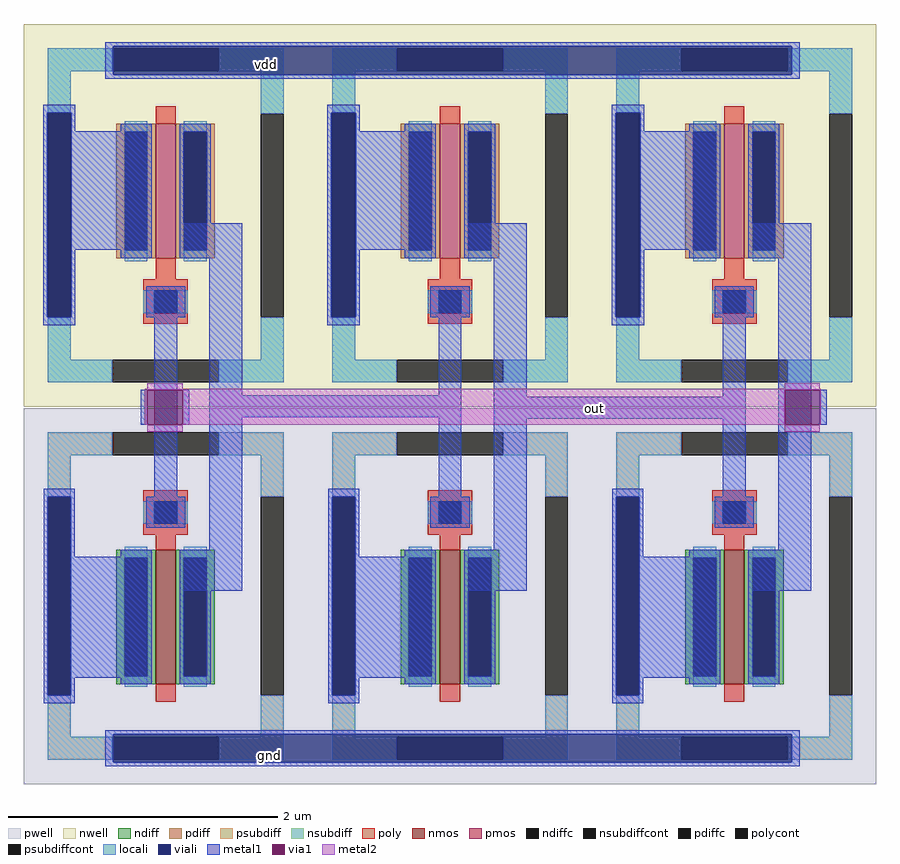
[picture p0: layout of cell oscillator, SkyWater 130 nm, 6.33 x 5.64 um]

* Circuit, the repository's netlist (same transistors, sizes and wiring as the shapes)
** sch_path: /home/enka/oscillator/oscillator.sch
.subckt oscillator vdd out gnd
*.PININFO vdd:B gnd:B out:O
x1 vdd out net1 gnd inverter
x2 vdd net1 net2 gnd inverter
x3 vdd net2 out gnd inverter
.ends

* expanding   symbol:  inverter.sym # of pins=4
** sym_path: /home/enka/oscillator/inverter.sym
** sch_path: /home/enka/oscillator/inverter.sch
.subckt inverter vdd in out gnd
*.PININFO vdd:I in:I gnd:I out:O
XM1 out in vdd vdd sky130_fd_pr__pfet_01v8 L=0.15 W=1 nf=1 m=1
XM2 out in gnd gnd sky130_fd_pr__nfet_01v8 L=0.15 W=1 nf=1 m=1
.ends

.end

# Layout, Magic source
magic
tech sky130A
magscale 1 2
<< viali >>
rect 133 1053 1140 1095
rect 133 32 1140 74
<< metal1 >>
rect 121 1095 1152 1101
rect 121 1053 133 1095
rect 1140 1053 1152 1095
rect 121 1047 1152 1053
rect 174 533 184 585
rect 236 533 246 585
rect 280 544 643 577
rect 704 542 1067 575
rect 1120 533 1130 585
rect 1182 533 1192 585
rect 121 74 1152 80
rect 121 32 133 74
rect 1140 32 1152 74
rect 121 26 1152 32
<< via1 >>
rect 184 533 236 585
rect 1130 533 1182 585
<< metal2 >>
rect 184 587 236 595
rect 1130 587 1182 595
rect 180 585 1183 587
rect 180 533 184 585
rect 236 533 1130 585
rect 1182 533 1183 585
rect 184 523 236 533
rect 1130 523 1182 533
use inverter  x1
transform 1 0 182 0 1 566
box -182 -566 240 562
use inverter  x2
transform 1 0 604 0 1 566
box -182 -566 240 562
use inverter  x3
transform 1 0 1026 0 1 566
box -182 -566 240 562
<< labels >>
flabel viali 361 1068 361 1068 0 FreeSans 160 0 0 0 vdd
port 3 nsew
flabel viali 365 42 365 42 0 FreeSans 160 0 0 0 gnd
port 5 nsew
flabel metal2 848 558 848 558 0 FreeSans 160 0 0 0 out
port 7 nsew
<< end >>

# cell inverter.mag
magic
tech sky130A
magscale 1 2
<< viali >>
rect -147 127 -111 430
rect -146 -434 -112 -140
<< metal1 >>
rect -153 430 -105 442
rect -153 127 -147 430
rect -111 403 -105 430
rect -111 227 3 403
rect -111 127 -105 227
rect 52 217 143 266
rect -153 115 -105 127
rect -152 -140 -106 -128
rect -152 -434 -146 -140
rect -112 -229 -106 -140
rect 12 -180 46 167
rect -112 -408 3 -229
rect 94 -230 143 217
rect 54 -279 143 -230
rect -112 -434 -106 -408
rect -152 -446 -106 -434
use sky130_fd_pr__pfet_01v8_LGS3BL  XM1
transform 1 0 29 0 1 278
box -211 -284 211 284
use sky130_fd_pr__nfet_01v8_64Z3AY  XM2
transform 1 0 29 0 1 -287
box -211 -279 211 279
<< labels >>
flabel metal1 -88 313 -88 313 0 FreeSans 160 0 0 0 vdd
port 1 nsew
flabel metal1 -89 -342 -89 -342 0 FreeSans 160 0 0 0 gnd
port 3 nsew
flabel metal1 22 -20 22 -20 0 FreeSans 160 0 0 0 in
port 5 nsew
flabel metal1 105 -28 105 -28 0 FreeSans 160 0 0 0 out
port 7 nsew
<< end >>

# cell sky130_fd_pr__pfet_01v8_LGS3BL: kit device sky130_fd_pr__pfet_01v8, w 1.0 l 0.15 m 1 nf 1 diffcov 100 polycov 100 guard 1 glc 1 grc 1 gtc 1 gbc 1 tbcov 100 rlcov 100 topc 0 botc 1 poverlap 0 doverlap 1 lmin 0.15 wmin 0.42 compatible {sky130_fd_pr__pfet_01v8 sky130_fd_pr__pfet_01v8_lvt sky130_fd_pr__pfet_01v8_hvt sky130_fd_pr__pfet_g5v0d10v5} full_metal 1 viasrc 100 viadrn 100 viagate 100 viagb 0 viagr 0 viagl 0 viagt 0

# cell sky130_fd_pr__nfet_01v8_64Z3AY: kit device sky130_fd_pr__nfet_01v8, w 1.0 l 0.15 m 1 nf 1 diffcov 100 polycov 100 guard 1 glc 1 grc 1 gtc 1 gbc 1 tbcov 100 rlcov 100 topc 1 botc 0 poverlap 0 doverlap 1 lmin 0.15 wmin 0.42 compatible {sky130_fd_pr__nfet_01v8 sky130_fd_pr__nfet_01v8_lvt sky130_fd_bs_flash__special_sonosfet_star sky130_fd_pr__nfet_g5v0d10v5 sky130_fd_pr__nfet_05v0_nvt sky130_fd_pr__nfet_03v3_nvt} full_metal 1 viasrc 100 viadrn 100 viagate 100 viagb 0 viagr 0 viagl 0 viagt 0
